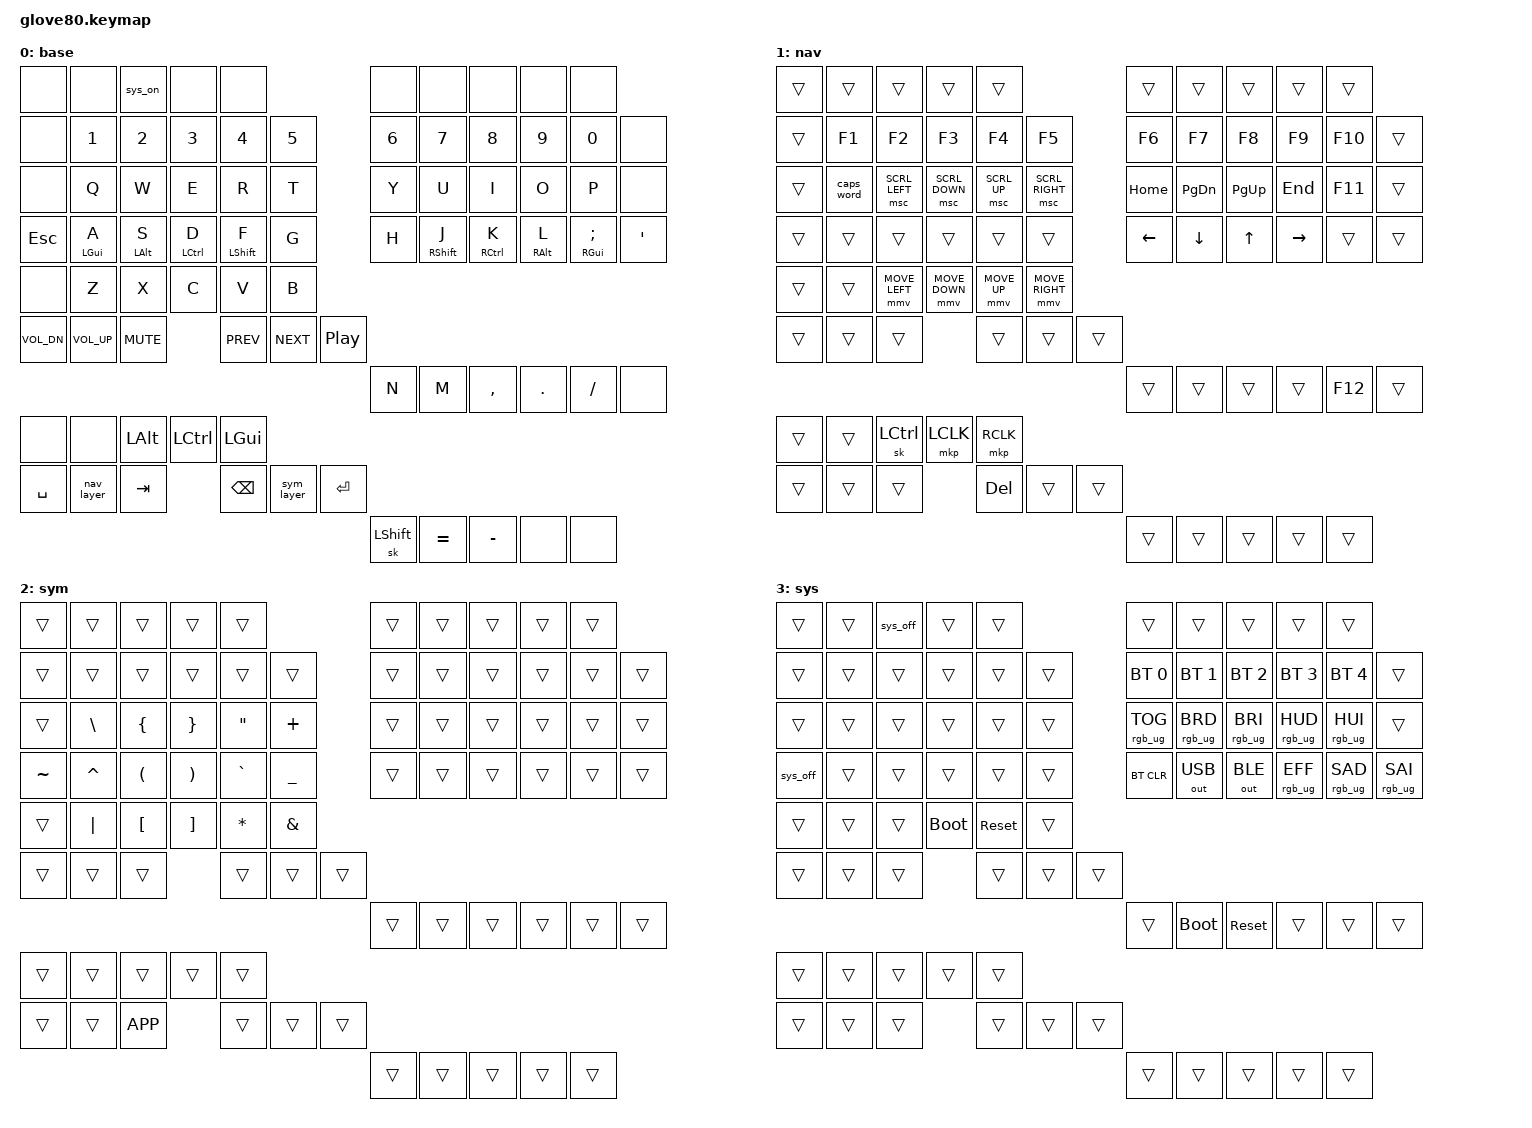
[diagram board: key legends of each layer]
/*
 * Glove80 keymap v1.2 — QWERTY base, urob-style "timeless" home row mods.
 * config/glove80.keymap
 *
 * Standalone: does NOT include base.keymap, combos.dtsi, leader.dtsi
 * or mouse.dtsi. Those stay in the repo unused.
 *
 * ── Glove80 key positions (this is the order bindings appear below) ──
 *
 *  |------------------------|------------------------|
 *  |  0  1  2  3  4         |          5  6  7  8  9 |   R1  F-row
 *  | 10 11 12 13 14 15      |      16 17 18 19 20 21 |   R2  number row
 *  | 22 23 24 25 26 27      |      28 29 30 31 32 33 |   R3  top alpha
 *  | 34 35 36 37 38 39      |      40 41 42 43 44 45 |   R4  home row
 *  | 46 47 48 49 50 51      |      58 59 60 61 62 63 |   R5  bottom alpha
 *  | 64 65 66 67 68         |         75 76 77 78 79 |   R6  outer row
 *  |                69 52   |   57 74                |   thumbs, nearest
 *  |                 70 53  |  56 73                 |   thumbs, middle
 *  |                  71 54 | 55 72                  |   thumbs, furthest
 *  |------------------------|------------------------|
 *
 *  Columns, both hands:  C1 inner  C2 index  C3 middle  C4 ring
 *                        C5 pinky  C6 outer
 *  Left  hand, left→right on the page:  C6 C5 C4 C3 C2 C1
 *  Right hand, left→right on the page:  C1 C2 C3 C4 C5 C6
 *
 * ── REACH BUDGET ──
 *
 *  Dead (&none) everywhere:
 *    R1 except position 2      0 1 3 4, 5-9
 *    C6 on R2 R3 R5 R6         10 22 46 64, 21 33 63 79
 *    C5R6                      65, 78
 *
 *  The whole C6 column is gone except ESC (34) and ' (45).
 *  Still needing an upper-outer reach: `1` (C5R2) and `Q` (C5R3).
 *
 * ── THUMBS ──
 *
 *  Outer arc, near → far:
 *     69 Space    70 Nav(mo)   71 Tab
 *     74 Enter    73 Sym(mo)   72 Backspace
 *
 *  Inner arc, near → far — media only, nothing in typing flow:
 *     52 Vol-     53 Vol+      54 Mute
 *     57 Play     56 Next      55 Prev
 *
 * ── LAYER GEOMETRY ──
 *
 *  Sym held by the RIGHT thumb → payload on the LEFT hand,
 *                                right home row stays &trans.
 *  Nav held by the LEFT thumb  → mouse on the LEFT hand, keyboard
 *                                navigation on the RIGHT hand; the
 *                                LEFT home row stays &trans.
 *
 *  The transparent home row is load-bearing. It is the only reason
 *  Shift+Arrow, Ctrl+Arrow and Ctrl+Shift+Arrow work: the modifier
 *  comes from the hand that is holding the layer key. Nav occupies
 *  R3/R5/R6 on the left, but never R4 — that row must stay free.
 *
 *  Sys is a TOGGLE on position 2, up in the otherwise-dead F-row —
 *  out of accidental reach, and a toggle so both hands are free once
 *  you're on it. Position 2 or Escape gets you back out.
 *
 * ── PINKY BUDGET ──
 *
 *  Pinky columns carry only low-frequency keys, apart from the alphas
 *  QWERTY nails down (Q A Z P ; /):
 *    base  ESC '
 *    sym   ~ ^ \ |
 *    nav   F1 F6 F11 F12, Caps Word
 *  Everything frequent sits on index, middle, ring, or a thumb.
 */

#include <behaviors.dtsi>
#include <dt-bindings/zmk/keys.h>
#include <dt-bindings/zmk/bt.h>
#include <dt-bindings/zmk/outputs.h>
#include <dt-bindings/zmk/pointing.h>
#include <dt-bindings/zmk/rgb.h>
#include "zmk-helpers/helper.h"

/* ────────────────────────────── layers ────────────────────────────── */

#define BASE  0
#define NAV   1
#define SYM   2
#define SYS   3

/* ──────────────────── positional hold-tap key sets ─────────────────── */

#define KEYS_L  0  1  2  3  4                  \
               10 11 12 13 14 15               \
               22 23 24 25 26 27               \
               34 35 36 37 38 39               \
               46 47 48 49 50 51               \
               64 65 66 67 68

#define KEYS_R  5  6  7  8  9                  \
               16 17 18 19 20 21               \
               28 29 30 31 32 33               \
               40 41 42 43 44 45               \
               58 59 60 61 62 63               \
               75 76 77 78 79

#define THUMBS 52 53 54 55 56 57 69 70 71 72 73 74

/* ──────────────────── timeless home row mods ───────────────────────
 *
 * require-prior-idle-ms: at least 10500 / your relaxed WPM.
 *   weeks 1-3: 300   |   week 4-7: 200   |   week 8+: 150
 *
 * Troubleshooting:
 *   tap delay                    → raise require-prior-idle-ms
 *   false negative, same hand    → lower tapping-term-ms
 *   false negative, cross hand   → lower require-prior-idle-ms
 *   false positive, same hand    → raise tapping-term-ms
 *   false positive, cross hand   → raise require-prior-idle-ms
 */

ZMK_HOLD_TAP(hml,
    flavor = "balanced";
    tapping-term-ms = <280>;
    quick-tap-ms = <175>;
    require-prior-idle-ms = <300>;
    bindings = <&kp>, <&kp>;
    hold-trigger-key-positions = <KEYS_R THUMBS>;
    hold-trigger-on-release;
)

ZMK_HOLD_TAP(hmr,
    flavor = "balanced";
    tapping-term-ms = <280>;
    quick-tap-ms = <175>;
    require-prior-idle-ms = <300>;
    bindings = <&kp>, <&kp>;
    hold-trigger-key-positions = <KEYS_L THUMBS>;
    hold-trigger-on-release;
)

/* ────────── layer indicators + per-layer RGB ──────────────────────────
 *
 * ZMK does not report layer state to the host — there is no
 * characteristic to read. So each layer key is a macro that ALSO holds
 * an otherwise-unused function key, and glove80-layerd watches for it
 * on /dev/input. F17-F20 are unbound everywhere, so nothing else sees
 * them.
 *
 *   F20 held  → Nav active        F18 tapped → entering Sys
 *   F19 held  → Sym active        F17 tapped → leaving Sys
 *
 * Nav and Sym are momentary, so they're reported by key-down/key-up:
 * the host cannot get stuck, because a release is a real event.
 *
 * Sys is a toggle, so it uses separate enter and leave signals rather
 * than one key whose meaning alternates. Because &sys_on only exists on
 * base and &sys_off only exists on the Sys layer, the signal always
 * reflects the firmware's real state — miss an event and the very next
 * press puts the host back in sync. There is no parity to drift.
 *
 * The RGB colour is set here too, not by a host service: there is no
 * host→keyboard channel for RGB. Doing it in firmware means no latency
 * and it keeps working when the daemon isn't running.
 *
 * Comment out GLOVE80_RGB_LAYERS to drop the colours and keep the
 * indicators. Sys + Y (RGB_TOG) is the instant off switch.
 *
 * RGB state set at runtime is saved to flash and OVERRIDES every
 * CONFIG_ZMK_RGB_*_START value, across firmware flashes. So if the
 * strip is saved as "off", or saved on an animated effect that rewrites
 * the hue every frame, these colour commands will appear to do nothing.
 * `glove80-rgb fix` prints the one-time key sequence that sorts it.
 *
 * GLOVE80_RGB_FORCE_ON makes every layer change also switch the strip
 * on, which beats the saved state at the cost of Sys+Y no longer
 * pausing anything — the next layer change would switch it back on.
 */

#define GLOVE80_RGB_LAYERS
// #define GLOVE80_RGB_FORCE_ON

#ifdef GLOVE80_RGB_LAYERS
#  ifdef GLOVE80_RGB_FORCE_ON
#    define LRGB(c) &rgb_ug RGB_ON &rgb_ug c
#  else
#    define LRGB(c) &rgb_ug c
#  endif
#else
#  define LRGB(c) &none
#endif

/* Catppuccin Mocha hues at a battery-friendly brightness.
 * RGB_COLOR_HSB(hue 0-359, saturation 0-100, brightness 0-100) */
#define RGB_BASE RGB_COLOR_HSB(217, 75, 25)   /* blue   */
#define RGB_NAV  RGB_COLOR_HSB(115, 75, 25)   /* green  */
#define RGB_SYM  RGB_COLOR_HSB(267, 75, 25)   /* mauve  */
#define RGB_SYS  RGB_COLOR_HSB(343, 75, 25)   /* red    */

ZMK_MACRO(nav_layer,
    wait-ms = <0>;
    tap-ms = <0>;
    bindings = <&macro_press &mo NAV &kp F20>
             , <&macro_tap LRGB(RGB_NAV)>
             , <&macro_pause_for_release>
             , <&macro_release &mo NAV &kp F20>
             , <&macro_tap LRGB(RGB_BASE)>;
)

ZMK_MACRO(sym_layer,
    wait-ms = <0>;
    tap-ms = <0>;
    bindings = <&macro_press &mo SYM &kp F19>
             , <&macro_tap LRGB(RGB_SYM)>
             , <&macro_pause_for_release>
             , <&macro_release &mo SYM &kp F19>
             , <&macro_tap LRGB(RGB_BASE)>;
)

/* Only ever reachable from base. */
ZMK_MACRO(sys_on,
    wait-ms = <0>;
    tap-ms = <0>;
    bindings = <&macro_tap &kp F18>
             , <&macro_tap LRGB(RGB_SYS)>
             , <&macro_tap &tog SYS>;
)

/* Only ever reachable from the Sys layer. */
ZMK_MACRO(sys_off,
    wait-ms = <0>;
    tap-ms = <0>;
    bindings = <&macro_tap &kp F17>
             , <&macro_tap LRGB(RGB_BASE)>
             , <&macro_tap &tog SYS>;
)

/* Mouse emulation tuning. Delete both if your ZMK revision rejects them. */
&mmv { time-to-max-speed-ms = <500>; };
&msc { time-to-max-speed-ms = <500>; };

/* ────────────────────────────── layers ────────────────────────────── */

/* BASE — QWERTY, GACS home row mods pinky→index.
 *
 * Escape on the index finger, bottom row (and on its own keycap).
 * Super on the middle finger, bottom row — plus the right pinky home
 * row mod, which is the comfortable one for left-hand niri binds.
 * = and - on the bottom row, so common operators need no layer. */
ZMK_LAYER(base,
//  R1 — dead except position 2, which toggles Sys
    &none      &none    &sys_on  &none    &none                        &none    &none    &none    &none    &none
// 10 dead    11       12       13       14       15                   16       17       18       19       20       21 dead
   &none      &kp N1   &kp N2   &kp N3   &kp N4   &kp N5               &kp N6   &kp N7   &kp N8   &kp N9   &kp N0   &none
// 22 dead    23       24       25       26       27                   28       29       30       31       32       33 dead
   &none      &kp Q    &kp W    &kp E    &kp R    &kp T                &kp Y    &kp U    &kp I    &kp O    &kp P    &none
// 34         35       36       37       38       39                   40       41       42       43       44       45
   &kp ESC    &hml LGUI A &hml LALT S &hml LCTRL D &hml LSHFT F &kp G  &kp H  &hmr RSHFT J &hmr RCTRL K &hmr RALT L &hmr RGUI SEMI &kp SQT
// 46 dead    47       48       49       50       51
   &none      &kp Z    &kp X    &kp C    &kp V    &kp B
// 52          53           54             55         56         57      (inner arc: media only)
   &kp C_VOL_DN &kp C_VOL_UP &kp C_MUTE    &kp C_PREV &kp C_NEXT &kp C_PP
//                                                                   58       59       60       61       62       63 dead
                                                                     &kp N    &kp M    &kp COMMA &kp DOT &kp FSLH &none
// 64 dead    65 dead  66 C4    67 C3     68 C2
   &none      &none    &kp LALT &kp LCTRL &kp LGUI
// 69         70       71                72       73       74
   &kp SPACE  &nav_layer &kp TAB         &kp BSPC &sym_layer &kp RET
//                                                                   75 C2     76 C3     77 C4     78 dead  79 dead
                                                                     &sk LSHFT &kp EQUAL &kp MINUS &none    &none
)

/* NAV — hold the middle key of the LEFT thumb arc.
 *
 * LEFT hand drives the mouse, RIGHT hand does keyboard navigation.
 * The left home row (R4) stays transparent, so Shift / Ctrl / Alt /
 * Super are all live while either hand works.
 *
 *   left  R3  Caps Word, then scroll   ← ↓ ↑ →
 *   left  R5  pointer                  ← ↓ ↑ →
 *   left  R6  sticky Ctrl, left click, right click
 *   right R3  Home, PgDn, PgUp, End — column-aligned above the arrows
 *   right R4  arrows ← ↓ ↑ → on H J K L, the same keys as niri's
 *             window navigation, so one motor pattern covers both
 *
 * ONE DIRECTION RULE, BOTH HANDS: the four keys read ← ↓ ↑ → from
 * left to right across the page. Scroll, pointer and arrows all use
 * it, so "further left" always means "further left" — no per-hand
 * exception to hold in your head while watching a cursor move.
 *
 * MODIFIED CLICKS. Clicks and the home row mods are now on the same
 * hand, and the positional hold-tap resolves a same-hand mod as a tap.
 * Two ways through:
 *   Ctrl+click  tap sticky Ctrl (ring, R6), then click. Needed because
 *               Ctrl lives on D — the same finger as left click.
 *   Shift+click hold F past 280ms, then click with the middle finger.
 *               Different fingers, so urob's same-hand escape valve
 *               works. Sticky Shift is also on the right hand at 75.
 */
ZMK_LAYER(nav,
    &trans     &trans   &trans   &trans   &trans                      &trans   &trans   &trans   &trans   &trans
    &trans     &kp F1   &kp F2   &kp F3   &kp F4   &kp F5             &kp F6   &kp F7   &kp F8   &kp F9   &kp F10  &trans
//             CapsWord  scroll ←         ↓              ↑              →                 Home     PgDn      PgUp      End     F11
    &trans     &caps_word &msc SCRL_LEFT  &msc SCRL_DOWN &msc SCRL_UP   &msc SCRL_RIGHT   &kp HOME &kp PG_DN &kp PG_UP &kp END &kp F11 &trans
//  left home row transparent — Shift / Ctrl / Alt / Gui live here      ←        ↓        ↑        →
    &trans     &trans   &trans   &trans   &trans   &trans             &kp LEFT &kp DOWN &kp UP   &kp RIGHT &trans  &trans
//                      pointer ←        ↓                ↑              →
    &trans     &trans   &mmv MOVE_LEFT   &mmv MOVE_DOWN   &mmv MOVE_UP   &mmv MOVE_RIGHT
    &trans     &trans   &trans           &trans   &trans   &trans
//                                                                                               F12
                                                                     &trans &trans &trans &trans &kp F12 &trans
//                      stickyCtrl  LCLK        RCLK
    &trans     &trans   &sk LCTRL   &mkp LCLK   &mkp RCLK
    &trans     &trans   &trans           &kp DEL  &trans   &trans
                                                                     &trans   &trans &trans &trans  &trans
)

/* SYM — hold the middle key of the RIGHT thumb arc.
 *
 * Payload on the left hand, right home row transparent.
 *
 * Bracket pairs stack on ring/middle, reading left to right:
 *     {  }  above  (  )  above  [  ]
 * The inner column runs +  _  &  ; the index column " ` * .
 *
 * Every French accent is reachable WITHOUT Shift, which is why the
 * backtick, caret and double quote all have unshifted keys here:
 *     Compose ' e → é    (apostrophe is on base)
 *     Compose ` e → è    (backtick, left index home)
 *     Compose ^ e → ê    (caret, left pinky home)
 *     Compose " e → ë    (double quote, left index upper)
 *     Compose , c → ç    (comma is on base)
 *
 * Compose itself is on the LEFT thumb, furthest key — it cannot go on
 * the right thumb, because that thumb is holding this layer.
 *
 * The number row stays transparent, so digits work while held and
 * ! @ # $ % need no slot. = and - live on the base bottom row. */
ZMK_LAYER(sym,
    &trans   &trans   &trans   &trans   &trans                        &trans   &trans   &trans   &trans   &trans
    &trans   &trans   &trans   &trans   &trans   &trans               &trans   &trans   &trans   &trans   &trans   &trans
//           \        {        }        "        +
    &trans   &kp BSLH &kp LBRC &kp RBRC &kp DQT  &kp PLUS             &trans   &trans   &trans   &trans   &trans   &trans
//  ~        ^        (        )        `        _
    &kp TILDE &kp CARET &kp LPAR &kp RPAR &kp GRAVE &kp UNDER         &trans   &trans   &trans   &trans   &trans   &trans
//           |        [        ]        *        &
    &trans   &kp PIPE &kp LBKT &kp RBKT &kp STAR &kp AMPS
    &trans   &trans   &trans           &trans   &trans   &trans
                                                                     &trans   &trans   &trans   &trans   &trans   &trans
    &trans   &trans   &trans   &trans   &trans
//                    Compose
    &trans   &trans   &kp K_APP        &trans   &trans   &trans
                                                                     &trans   &trans   &trans   &trans   &trans
)

/* SYS — TOGGLE on position 2 (R1C4). Press it again, or Escape, to leave.
 *
 * A toggle rather than a hold, because position 2 is up in the dead
 * F-row: awkward to hold, impossible to hit by accident. Toggled on,
 * both hands are free, so the left half's bootloader and reset keys
 * are properly reachable — they have to live on the left half, since
 * &bootloader and &sys_reset only affect their own side. */
ZMK_LAYER(sys,
    &trans   &trans   &sys_off &trans   &trans                        &trans   &trans   &trans   &trans   &trans
//                                                                    bluetooth profiles 0-4
    &trans   &trans   &trans   &trans   &trans   &trans               &bt BT_SEL 0 &bt BT_SEL 1 &bt BT_SEL 2 &bt BT_SEL 3 &bt BT_SEL 4 &trans
//                                                                    RGB on/off, dimmer, brighter, hue-, hue+
    &trans   &trans   &trans   &trans   &trans   &trans               &rgb_ug RGB_TOG &rgb_ug RGB_BRD &rgb_ug RGB_BRI &rgb_ug RGB_HUD &rgb_ug RGB_HUI &trans
//  exit                                                              BT clear, out USB, out BLE, effect, sat-, sat+
    &sys_off &trans   &trans   &trans   &trans   &trans               &bt BT_CLR &out OUT_USB &out OUT_BLE &rgb_ug RGB_EFF &rgb_ug RGB_SAD &rgb_ug RGB_SAI
//                             boot(L)  reset(L)
    &trans   &trans   &trans   &bootloader &sys_reset &trans
    &trans   &trans   &trans           &trans   &trans   &trans
//                                                                             boot(R)  reset(R)
                                                                     &trans   &bootloader &sys_reset &trans &trans &trans
    &trans   &trans   &trans   &trans   &trans
    &trans   &trans   &trans           &trans   &trans   &trans
                                                                     &trans   &trans   &trans   &trans   &trans
)
